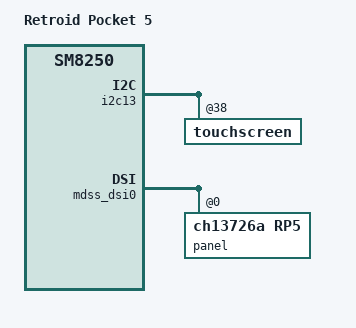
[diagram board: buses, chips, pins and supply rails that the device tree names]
// SPDX-License-Identifier: BSD-3-Clause
/*
 * Copyright (c) 2024, Retroid Pocket.
 */

/dts-v1/;

#include "sm8250-retroidpocket-common.dtsi"

/ {
	model = "Retroid Pocket 5";
	compatible = "retroidpocket,rp5", "qcom,sm8250";

	chosen {
		#address-cells = <2>;
		#size-cells = <2>;
		ranges;

		framebuffer: framebuffer@9c000000 {
			compatible = "simple-framebuffer";
			reg = <0x0 0x9c000000 0x0 0x2300000>;
			width = <1080>;
			height = <1920>;
			stride = <(1080 * 4)>;
			format = "a8r8g8b8";
		};
	};

	multi-ledr1 {
		compatible = "leds-group-multicolor";
		color = <LED_COLOR_ID_RGB>;
		function = "r1";
		leds = <&ledr_r4>, <&ledr_g4>, <&ledr_b4>;
	};

	multi-ledl1 {
		compatible = "leds-group-multicolor";
		color = <LED_COLOR_ID_RGB>;
		function = "l1";
		leds = <&ledl_r4>, <&ledl_g4>, <&ledl_b4>;
	};

	multi-ledr2 {
		compatible = "leds-group-multicolor";
		color = <LED_COLOR_ID_RGB>;
		function = "r2";
		leds = <&ledr_r1>, <&ledr_g1>, <&ledr_b1>;
	};

	multi-ledl2 {
		compatible = "leds-group-multicolor";
		color = <LED_COLOR_ID_RGB>;
		function = "l2";
		leds = <&ledl_r1>, <&ledl_g1>, <&ledl_b1>;
	};

	multi-ledr3 {
		compatible = "leds-group-multicolor";
		color = <LED_COLOR_ID_RGB>;
		function = "r3";
		leds = <&ledr_r2>, <&ledr_g2>, <&ledr_b2>;
	};

	multi-ledl3 {
		compatible = "leds-group-multicolor";
		color = <LED_COLOR_ID_RGB>;
		function = "l3";
		leds = <&ledl_r2>, <&ledl_g2>, <&ledl_b2>;
	};

	multi-ledr4 {
		compatible = "leds-group-multicolor";
		color = <LED_COLOR_ID_RGB>;
		function = "r4";
		leds = <&ledr_r3>, <&ledr_g3>, <&ledr_b3>;
	};

	multi-ledl4 {
		compatible = "leds-group-multicolor";
		color = <LED_COLOR_ID_RGB>;
		function = "l4";
		leds = <&ledl_r3>, <&ledl_g3>, <&ledl_b3>;
	};
};

&i2c13 {
	touchscreen@38 {
		touchscreen-size-x = <1080>;
		touchscreen-size-y = <1920>;
		touchscreen-inverted-x;
		touchscreen-inverted-y;
	};
};

&mdss_dsi0 {
	panel@0 {
		compatible = "ch13726a,rp5";
		rotation = <270>;
	};
};

&battery {
	/* the RP5 cell is 5000 mAh, the common tree carries the 3850 mAh figure of the other models */
	charge-full-design-microamp-hours = <5000000>;
	/* 0.6C; the charger driver caps it at 3 A whatever this says */
	constant-charge-current-max-microamp = <3000000>;
};

&pm8150b_typec {
	connector {
		/* 9 V lifts PD input to 27 W; a 5 V-only charger still gets the first PDO */
		sink-pdos = <PDO_FIXED(5000, 3000,
					 PDO_FIXED_DUAL_ROLE |
					 PDO_FIXED_USB_COMM |
					 PDO_FIXED_DATA_SWAP)
			     PDO_FIXED(9000, 3000, 0)>;
	};
};
